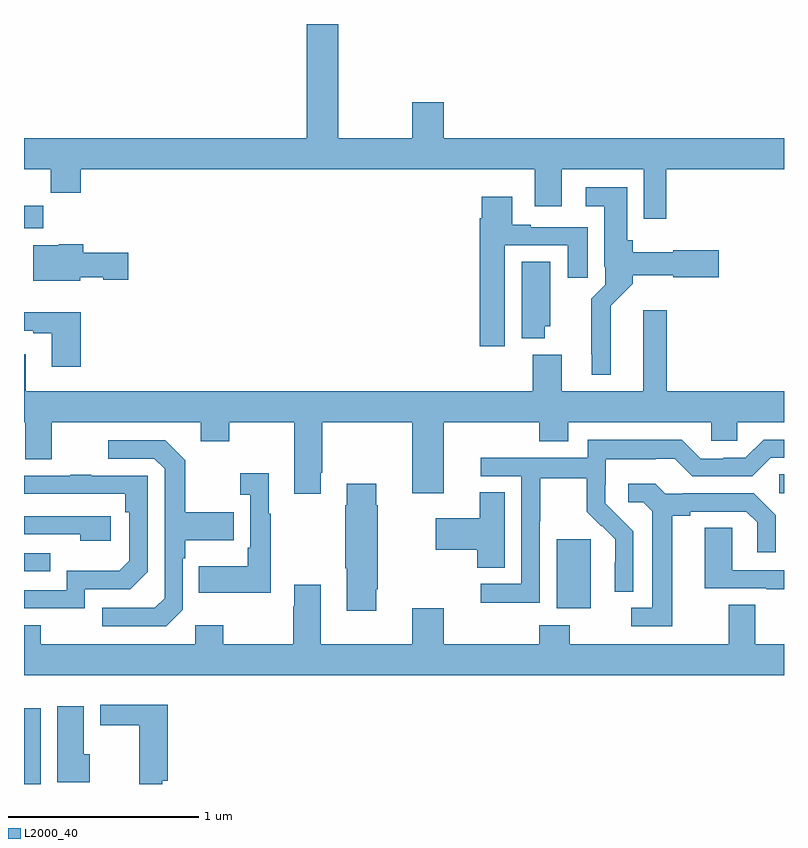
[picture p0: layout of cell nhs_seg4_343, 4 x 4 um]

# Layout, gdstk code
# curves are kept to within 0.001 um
import gdstk
lib = gdstk.Library(unit=1e-6, precision=1e-09)
def R(c, l, rs):  # rectangles x0, y0, x1, y1
    for r in rs: c.add(gdstk.rectangle(r[:2], r[2:], *l))
def P(c, l, *ps):  # polygons
    for p in ps: c.add(gdstk.Polygon(p, *l))
L2000_40 = (2000, 40)

nhs_seg4_343 = lib.new_cell('nhs_seg4_343')
R(nhs_seg4_343, L2000_40, [(127,810.9,127.087,811.3), (129.803,811.826,129.982,812.187), (127,812.019,127.139,812.115), (130.974,812.43,131,812.531), (127,813.824,127.1,813.943)])
P(nhs_seg4_343, L2000_40, [(130.379,814.136),(131,814.136),(131,814.3),(129.208,814.3),(129.208,814.489),(129.044,814.489),(129.044,814.3),(128.653,814.3),(128.653,814.9),(128.489,814.9),(128.489,814.3),(127,814.3),(127,814.136),(127.141,814.136),(127.141,814.012),(127.298,814.012),(127.298,814.136),(129.689,814.136),(129.689,813.942),(129.829,813.942),(129.829,814.136),(130.263,814.136),(130.263,813.876),(130.379,813.876)],
  [(130.087,813.416),(130.205,813.534),(130.205,813.578),(130.416,813.578),(130.416,813.566),(130.657,813.566),(130.657,813.708),(130.416,813.708),(130.416,813.7),(130.205,813.7),(130.205,813.762),(130.174,813.762),(130.174,814.042),(129.957,814.042),(129.957,813.941),(130.055,813.941),(130.055,813.622),(130.059,813.622),(130.059,813.528),(129.985,813.454),(129.985,813.163),(129.989,813.163),(129.989,813.053),(130.087,813.053)],
  [(129.529,813.735),(129.863,813.735),(129.863,813.564),(129.967,813.564),(129.967,813.831),(129.667,813.831),(129.667,813.844),(129.571,813.844),(129.571,813.991),(129.41,813.991),(129.41,813.878),(129.398,813.878),(129.398,813.204),(129.529,813.204)],
  [(127.296,813.566),(127.416,813.566),(127.416,813.554),(127.549,813.554),(127.549,813.696),(127.313,813.696),(127.313,813.742),(127.182,813.742),(127.182,813.736),(127.049,813.736),(127.049,813.548),(127.296,813.548)],
  [(129.742,813.309),(129.769,813.309),(129.769,813.65),(129.62,813.65),(129.62,813.245),(129.742,813.245)],
  [(128.563,812.539),(128.571,812.539),(128.571,812.804),(129.044,812.804),(129.044,812.43),(129.208,812.43),(129.208,812.804),(129.713,812.804),(129.713,812.705),(129.865,812.705),(129.865,812.804),(130.617,812.804),(130.617,812.706),(130.755,812.706),(130.755,812.804),(131,812.804),(131,812.968),(130.382,812.968),(130.382,813.394),(130.259,813.394),(130.259,812.968),(129.829,812.968),(129.829,813.16),(129.677,813.16),(129.677,812.968),(127.009,812.968),(127.009,813.163),(127,813.163),(127,812.804),(127.007,812.804),(127.007,812.61),(127.147,812.61),(127.147,812.804),(127.931,812.804),(127.931,812.705),(128.079,812.705),(128.079,812.804),(128.423,812.804),(128.423,812.427),(128.563,812.427)],
  [(127.298,813.382),(127,813.382),(127,813.285),(127.049,813.285),(127.049,813.273),(127.145,813.273),(127.145,813.096),(127.298,813.096)],
  [(129.714,812.284),(129.717,812.284),(129.717,812.508),(129.961,812.508),(129.961,812.333),(130.038,812.256),(130.041,812.259),(130.112,812.189),(130.112,812.066),(130.11,812.066),(130.11,811.912),(130.206,811.912),(130.206,812.23),(130.06,812.378),(130.06,812.475),(130.062,812.475),(130.062,812.609),(130.325,812.609),(130.325,812.613),(130.425,812.613),(130.518,812.52),(130.833,812.52),(130.929,812.616),(131,812.616),(131,812.712),(130.893,812.712),(130.797,812.616),(130.679,812.616),(130.679,812.613),(130.563,812.613),(130.463,812.713),(129.966,812.713),(129.966,812.616),(129.405,812.616),(129.405,812.52),(129.618,812.52),(129.618,811.953),(129.405,811.953),(129.405,811.855),(129.714,811.855)],
  [(127.836,811.818),(127.836,812.087),(127.849,812.087),(127.849,812.183),(128.105,812.183),(128.105,812.331),(127.849,812.331),(127.849,812.603),(127.743,812.709),(127.443,812.709),(127.443,812.613),(127.686,812.613),(127.74,812.559),(127.74,811.878),(127.689,811.827),(127.413,811.827),(127.413,811.731),(127.749,811.731)],
  [(128.299,812.323),(128.287,812.323),(128.287,812.536),(128.139,812.536),(128.139,812.423),(128.19,812.423),(128.19,812.143),(128.178,812.143),(128.178,812.047),(127.921,812.047),(127.921,811.907),(128.299,811.907)],
  [(127.32,811.926),(127.56,811.926),(127.65,812.016),(127.65,812.523),(127.355,812.523),(127.355,812.528),(127.243,812.528),(127.243,812.523),(127,812.523),(127,812.427),(127.534,812.427),(127.534,812.33),(127.554,812.33),(127.554,812.076),(127.501,812.023),(127.224,812.023),(127.224,811.92),(127,811.92),(127,811.824),(127.32,811.824)],
  [(130.411,812.312),(130.507,812.312),(130.507,812.334),(130.802,812.334),(130.859,812.277),(130.859,812.121),(130.956,812.121),(130.956,812.314),(130.84,812.43),(130.468,812.43),(130.468,812.427),(130.374,812.427),(130.322,812.479),(130.179,812.479),(130.179,812.382),(130.26,812.382),(130.307,812.335),(130.307,811.827),(130.197,811.827),(130.197,811.731),(130.411,811.731)],
  [(128.854,811.924),(128.862,811.924),(128.862,812.366),(128.854,812.366),(128.854,812.479),(128.699,812.479),(128.699,812.366),(128.692,812.366),(128.692,812.035),(128.699,812.035),(128.699,811.812),(128.854,811.812)],
  [(129.529,812.435),(129.398,812.435),(129.398,812.299),(129.168,812.299),(129.168,812.134),(129.386,812.134),(129.386,812.038),(129.529,812.038)],
  [(127.456,812.31),(127,812.31),(127,812.214),(127.295,812.214),(127.295,812.18),(127.456,812.18)],
  [(131,812.025),(130.728,812.025),(130.728,812.249),(130.583,812.249),(130.583,811.929),(130.907,811.929),(130.907,811.925),(131,811.925)],
  [(131,811.636),(130.849,811.636),(130.849,811.844),(130.709,811.844),(130.709,811.636),(129.873,811.636),(129.873,811.735),(129.713,811.735),(129.713,811.636),(129.208,811.636),(129.208,811.825),(129.044,811.825),(129.044,811.636),(128.563,811.636),(128.563,811.948),(128.423,811.948),(128.423,811.835),(128.416,811.835),(128.416,811.636),(128.049,811.636),(128.049,811.735),(127.902,811.735),(127.902,811.636),(127.089,811.636),(127.089,811.735),(127,811.735),(127,811.472),(131,811.472)],
  [(127.727,810.917),(127.757,810.917),(127.757,811.318),(127.401,811.318),(127.401,811.209),(127.606,811.209),(127.606,810.9),(127.727,810.9)],
  [(127.345,811.056),(127.315,811.056),(127.315,811.309),(127.175,811.309),(127.175,810.908),(127.345,810.908)])

lib.write_gds('nhs_seg4_343.gds')
